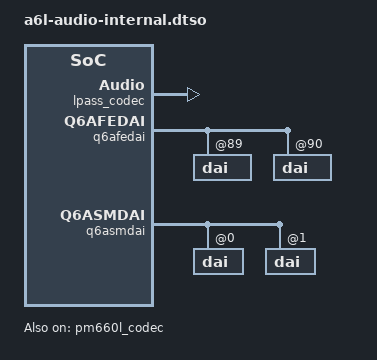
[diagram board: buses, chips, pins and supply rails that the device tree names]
// SPDX-License-Identifier: GPL-2.0-only
// OFFLINE CANDIDATE "A1", never booted, not in V69. Internal audio path only (earpiece, wired headset, microphones):
// ADSP (candidate A, proven 20 Sep) -> APR/Q6 -> LPASS digital codec @152c0000 -> PM660L analog codec.
// Copied from the mainline SDM660 reference board (xiaomi-lavender) in the pinned tree; the stock A6L DT uses the same
// supplies: codec IO/CX = pm660 S4, mic bias = pm660l L7 (already described as vreg_l7b). The TFA9894 speaker amplifier
// is deliberately NOT part of this candidate. All drivers are modules; no sound plays unless a test asks for it.
/dts-v1/;
/plugin/;
&lpass_codec { status = "okay"; };
&pm660l_codec {
    vdd-cdc-io-supply = <&a6l_vreg_s4a>;
    vdd-cdc-tx-rx-cx-supply = <&a6l_vreg_s4a>;
    vdd-micbias-supply = <&vreg_l7b>;
    qcom,micbias-lvl = <2600>;
    qcom,micbias1-ext-cap;
    status = "okay";
};
&q6afedai {
    #address-cells = <1>;
    #size-cells = <0>;
    dai@137 { reg = <137>; qcom,sd-lines = <0 1>; };   /* LPI_MI2S_RX_0 */
    dai@144 { reg = <144>; qcom,sd-lines = <0 1>; };   /* LPI_MI2S_TX_3 */
};
&q6asmdai {
    #address-cells = <1>;
    #size-cells = <0>;
    dai@0 { reg = <0>; };
    dai@1 { reg = <1>; };
};
&sound {
    compatible = "qcom,sdm660-sndcard";
    model = "Hisense A6L";
    pinctrl-names = "default";
    pinctrl-0 = <&cdc_pdm_default>, <&cdc_dmic_default>;
    audio-routing = "PDM_RX1", "Digital PDM_RX1", "PDM_RX2", "Digital PDM_RX2", "PDM_RX3", "Digital PDM_RX3",
                    "Digital LPASS_PDM_TX", "PDM_TX", "AMIC1", "MIC BIAS External1", "AMIC2", "MIC BIAS External2";
    // ORDER MATTERS, AND IT IS REVERSED ON PURPOSE (hardware finding 21 Sep 2026): fdtoverlay inserts new child nodes at
    // the head of the target node, so the merged DTB lists them in the opposite order from this file. ASoC probes
    // components in dai-link order; q6routing (platform of the MI2S links) must come AFTER q6asm-dai (MultiMedia
    // links), else every q6routing route fails on the missing MM_DL*/MM_UL* widgets and the card dies with -19.
    // Test-RecoveryV71 asserts that MultiMedia1 is the first link in the merged DTB.
    int3-mi2s-dai-link {
        link-name = "Internal MI2S Capture";
        cpu { sound-dai = <&q6afedai 144>; };
        platform { sound-dai = <&q6routing>; };
        codec { sound-dai = <&pm660l_codec 1>, <&lpass_codec 1>; };
    };
    int0-mi2s-dai-link {
        link-name = "Internal MI2S Playback";
        cpu { sound-dai = <&q6afedai 137>; };
        platform { sound-dai = <&q6routing>; };
        codec { sound-dai = <&pm660l_codec 0>, <&lpass_codec 0>; };
    };
    mm2-dai-link { link-name = "MultiMedia2"; cpu { sound-dai = <&q6asmdai 1>; }; };
    mm1-dai-link { link-name = "MultiMedia1"; cpu { sound-dai = <&q6asmdai 0>; }; };
};
/ {
    fragment@90 {
        target-path = "/remoteproc/glink-edge/rpm-requests/regulators-1";
        __overlay__ { a6l_vreg_s4a: s4 { regulator-min-microvolt = <1805000>; regulator-max-microvolt = <2040000>; regulator-enable-ramp-delay = <200>; regulator-always-on; }; };
    };
    fragment@91 { target-path = "/chosen"; __overlay__ { hisense,a6l-audio = "a1"; }; };
};
